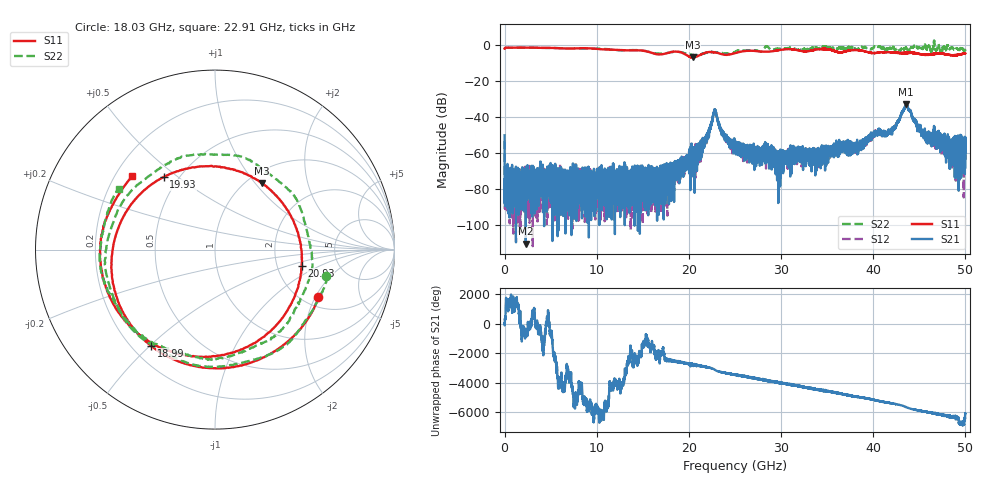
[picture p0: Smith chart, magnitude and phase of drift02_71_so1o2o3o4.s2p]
!Created with skrf (http://scikit-rf.org).
# Hz S RI R 50.0
!freq ReS11 ImS11 ReS21 ImS21 ReS12 ImS12 ReS22 ImS22
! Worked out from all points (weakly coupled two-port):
!   10001 points, 300 kHz to 50 GHz, reference 50 ohm
!   highest |S21| = -32.72 dB at 43.59 GHz (marker M1); lowest = -110.4 dB at 2.3 GHz (marker M2)
!   lowest |S11| = -6.9 dB at 20.43 GHz (marker M3), VSWR 2.65, Z = 58 + j54 ohm
!   |S11| at or under -10 dB: nowhere
!   |S22| runs from -5.7 to 2.6 dB; largest |S21 - S12| = 0.0049
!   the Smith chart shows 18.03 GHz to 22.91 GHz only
!   S11 on the Smith chart (normalised r, x): 18.03 GHz: 2.38, -2.13; 18.99 GHz: 0.27, -0.50; 19.93 GHz: 0.42, +0.45; 20.93 GHz: 2.75, -0.65; 22.91 GHz: 0.27, +0.36
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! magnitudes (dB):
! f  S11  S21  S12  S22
! 300 kHz  -2.0  -50.1  -53.1  -2.1
! 255.3 MHz  -1.4  -75.0  -89.5  -1.4
! 2.3 GHz  -1.3  -110.4  -83.8  -1.3
! 8.335 GHz  -1.7  -72.2  -76.8  -1.9
! 16.67 GHz  -5.2  -75.3  -81.8  -4.7
! 18.03 GHz  -3.9  -70.6  -72.3  -3.9
! 18.99 GHz  -3.8  -66.0  -68.3  -3.9
! 19.93 GHz  -6.1  -65.5  -64.0  -5.2
! 20.43 GHz  -6.9  -63.0  -64.6  -5.4
! 20.93 GHz  -6.2  -59.1  -61.5  -5.6
! 22.91 GHz  -4.2  -37.0  -36.8  -3.9
! 23.74 GHz  -5.3  -49.1  -49.6  -4.7
! 25 GHz  -4.5  -55.3  -55.8  -3.9
! 29.8 GHz  -2.8  -75.3  -66.7  -2.0
! 33.34 GHz  -3.1  -58.4  -63.6  -1.5
! 36.69 GHz  -3.8  -54.7  -56.7  -1.3
! 38.12 GHz  -2.7  -58.3  -58.3  -2.3
! 40.39 GHz  -4.3  -48.6  -48.9  -1.0
! 41.67 GHz  -4.0  -48.2  -47.8  -1.9
! 43.59 GHz  -4.6  -32.7  -33.5  -1.4
! 45.67 GHz  -5.3  -51.6  -49.6  -0.3
! 50 GHz  -4.6  -58.1  -60.0  -2.7
